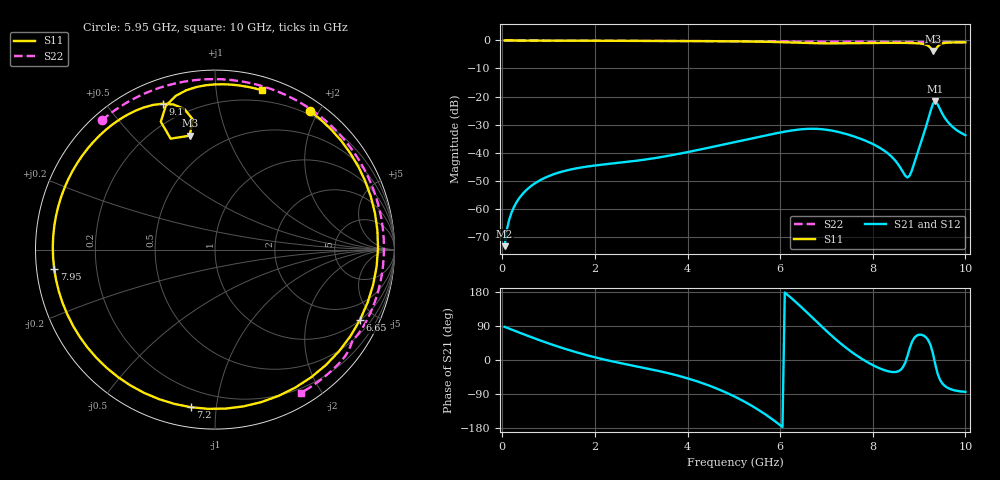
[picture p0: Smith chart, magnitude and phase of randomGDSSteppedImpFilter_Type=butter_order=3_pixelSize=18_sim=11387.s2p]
! freq	dB(S11)	phase(S11)	dB(S12)	phase(S12)
!  dB(S21)	phase(S21)	dB(S22)	phase(S22)
!S-par simulation data
#  GHz  S  DB  R 50
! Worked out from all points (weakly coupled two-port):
!   200 points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, 50 MHz to 10 GHz, reference 50 ohm
!   highest |S21| = -21.74 dB at 9.35 GHz (marker M1); lowest = -73.4 dB at 50 MHz (marker M2)
!   lowest |S11| = -3.7 dB at 9.3 GHz (marker M3), VSWR 4.72, Z = 16.9 + j37.3 ohm
!   |S11| at or under -10 dB: nowhere
!   |S22| runs from -0.7 to 0.0 dB; largest |S21 - S12| = 0
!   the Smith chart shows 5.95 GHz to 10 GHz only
!   S11 on the Smith chart (normalised r, x): 5.95 GHz: 0.15, +1.89; 6.65 GHz: 1.02, -4.12; 7.2 GHz: 0.10, -0.85; 7.95 GHz: 0.05, -0.06; 9.1 GHz: 0.11, +0.70; 10 GHz: 0.11, +1.33
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0.05  -0.00 -3.0  -73.39 87.5  -73.39 87.5  -0.00 -1.8
0.2  -0.02 -12.0  -61.41 80.3  -61.41 80.3  -0.01 -7.3
0.5  -0.03 -29.7  -53.68 66.1  -53.68 66.1  -0.02 -18.1
1.1  -0.07 -63.3  -47.78 39.6  -47.78 39.6  -0.05 -39.7
1.75  -0.11 -96.2  -45.19 15.2  -45.19 15.2  -0.08 -62.9
3.4  -0.17 -166.3  -41.68 -29.6  -41.68 -29.6  -0.16 -121.7
4.25  -0.23 158.8  -38.98 -58.1  -38.98 -58.1  -0.22 -153.8
5.05  -0.32 120.1  -36.16 -98.5  -36.16 -98.5  -0.29 173.2
5.95  -0.57 55.7  -33.00 -167.3  -33.00 -167.3  -0.38 131.3
6.35  -0.78 12.8  -31.89 151.7  -31.89 151.7  -0.42 110.9
6.65  -0.94 -25.8  -31.51 117.3  -31.51 117.3  -0.44 95.0
6.7  -0.96 -32.6  -31.51 111.5  -31.51 111.5  -0.44 92.4
7.2  -1.03 -98.7  -32.44 54.7  -32.44 54.7  -0.47 65.4
7.55  -0.97 -137.5  -34.00 20.7  -34.00 20.7  -0.48 46.6
7.95  -0.89 -173.2  -36.55 -10.2  -36.55 -10.2  -0.50 25.9
8.35  -0.85 157.8  -40.62 -30.2  -40.62 -30.2  -0.52 6.3
8.75  -0.89 132.3  -48.91 10.9  -48.91 10.9  -0.55 -11.9
9.1  -1.28 109.7  -33.38 64.4  -33.38 64.4  -0.61 -26.6
9.3  -3.74 102.5  -22.60 16.8  -22.60 16.8  -0.72 -33.8
9.35  -3.54 111.8  -21.74 -11.6  -21.74 -11.6  -0.67 -35.2
9.55  -0.89 100.2  -27.46 -67.8  -27.46 -67.8  -0.56 -43.2
10  -0.67 73.5  -33.79 -84.0  -33.79 -84.0  -0.62 -59.1
